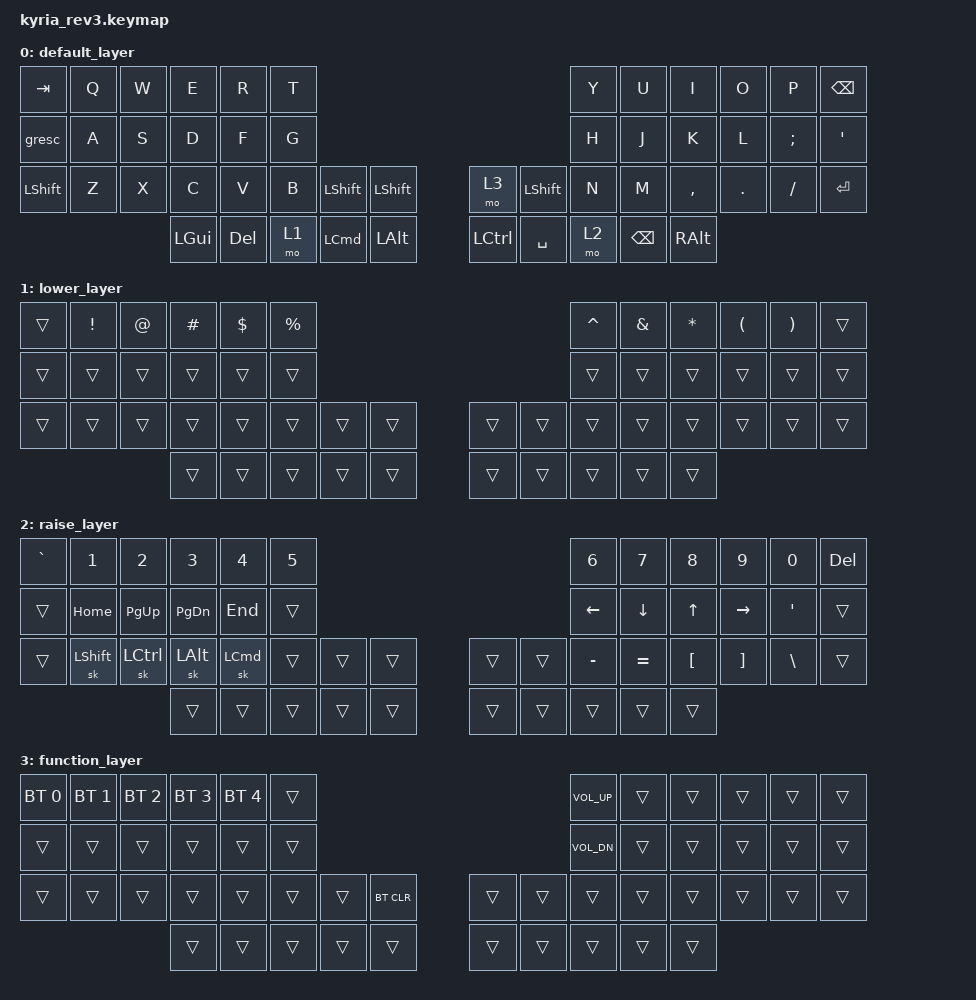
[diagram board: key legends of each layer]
/*
 * Copyright (c) 2023 The ZMK Contributors
 *
 * SPDX-License-Identifier: MIT
 */

#include <behaviors.dtsi>
#include <dt-bindings/zmk/bt.h>
#include <dt-bindings/zmk/keys.h>

/* Uncomment this block if using RGB
&led_strip {
    chain-length = <6>;
    // chain-length = <31>; // Uncomment if using both per-key and underglow LEDs
    // chain-length = <25>; // Uncomment if using only per-key LEDs.
};
 */

// Customise the predefined gresc behaviour so that the modifiers that activate it
// are also passed through, i.e. it will be Cmd-` or Cmd-~ instead of just `.
&gresc {
    keep-mods = <(MOD_LGUI|MOD_LSFT|MOD_RGUI|MOD_RSFT)>;
};

/ {
    keymap {
        compatible = "zmk,keymap";

        default_layer {
            // ---------------------------------------------------------------------------------------------------------------------------------
            // |  TAB  |  Q  |  W  |  E   |  R   |  T   |                                          |  Y   |  U    |  I    |  O   |   P   | BSPC |
            // | GRESC |  A  |  S  |  D   |  F   |  G   |                                          |  H   |  J    |  K    |  L   |   ;   |   '  |
            // | SHIFT |  Z  |  X  |  C   |  V   |  B   |         |         |  | FUNC    |         |  N   |  M    |  ,    |  .   |   /   | RET  |
            //                     | GUI  | DEL  |LOWER |   CMD   | OPTION  |  |  CTRL   |  SPACE  |RAISE | BSPC  | R-ALT |
            bindings = <
            &kp TAB   &kp Q &kp W &kp E &kp R &kp T                                                  &kp Y &kp U  &kp I     &kp O   &kp P    &kp BSPC
            &gresc    &kp A &kp S &kp D &kp F &kp G                                                  &kp H &kp J  &kp K     &kp L   &kp SEMI &kp SQT
            &kp LSHFT &kp Z &kp X &kp C &kp V &kp B &kp LSHFT &kp LSHFT        &mo 3     &kp LSHFT &kp N  &kp M   &kp COMMA &kp DOT &kp FSLH &kp RET
                                  &kp LGUI &kp DEL &mo 1   &kp LCMD &kp LALT   &kp LCTRL &kp SPACE &mo 2  &kp BSPC &kp RALT
            >;

            // Uncomment if using sensors, such as encoders
            // sensor-bindings = <&inc_dec_kp C_VOL_UP C_VOL_DN &inc_dec_kp PG_UP PG_DN>;
        };
        lower_layer {
            // --------------------------------------------------------------------------------------------------------------------
            // |       |  !   |  @   |  #   |  $   |  %   |                             |  ^   |  &   |  *   |  (   |  )   |      |
            // |       |      |      |      |      |      |                             |      |      |      |      |      |      |
            // |       |      |      |      |      |      |      |      |||      |      |      |      |      |      |      |      |
            //                       |      |      |      |      |      |||      |      |      |      |      |      |
            bindings = <
            &trans     &kp EXCL &kp AT &kp HASH &kp DLLR &kp PRCNT                      &kp CARET &kp AMPS &kp ASTRK &kp LPAR &kp RPAR &trans
            &trans     &trans &trans &trans &trans &trans                               &trans &trans &trans &trans &trans &trans
            &trans     &trans &trans &trans &trans &trans &trans &trans    &trans &trans &trans &trans &trans &trans &trans &trans
                                     &trans &trans &trans &trans &trans    &trans &trans &trans &trans &trans
            >;
        };
        raise_layer {
            // --------------------------------------------------------------------------------------------------------------------
            // |  `    |  1   |  2   |  3   |  4   |  5   |                             |  6   |  7   |  8   |  9   |  0   | DEL  |
            // |       | HOME | PGUP | PGDN | END  |      |                             | LEFT | DOWN |  UP  | RIGHT|  '   |      |
            // |       | SHIFT| CTRL | OPT  | CMD  |      |      |      |||      |      |  -   |  =   |  [   |  ]   |  \   |      |
            //                       |      |      |      |      |      |||      |      |      |      |      |
            bindings = <
            &kp GRAVE  &kp N1 &kp N2 &kp N3 &kp N4 &kp N5                               &kp N6 &kp N7 &kp N8 &kp N9 &kp N0 &kp DEL
            &trans     &kp HOME &kp PG_UP &kp PG_DN &kp END &trans                      &kp LEFT &kp DOWN &kp UP &kp RIGHT &kp SQT &trans
            &trans     &sk LSHFT &sk LCTRL &sk LALT &sk LCMD &trans &trans &trans &trans &trans &kp MINUS &kp EQUAL &kp LBKT &kp RBKT &kp BSLH &trans
                                     &trans &trans &trans &trans &trans   &trans &trans &trans &trans &trans
            >;
        };
        function_layer {
            // --------------------------------------------------------------------------------------------------------------------
            // |BTSEL0 |BTSEL1|BTSEL2|BTSEL3|BTSEL4|      |                             | VOLUP|      |      |      |      |      |
            // |       |      |      |      |      |      |                             | VOLDN|      |      |      |      |      |
            // |       |      |      |      |      |      |      |BT_CLR|||      |      |      |      |      |      |      |      |
            //                       |      |      |      |      |      |||      |      |      |      |      |
            bindings = <
            &bt BT_SEL 0 &bt BT_SEL 1 &bt BT_SEL 2 &bt BT_SEL 3 &bt BT_SEL 4 &trans     &kp C_VOL_UP &trans &trans &trans &trans &trans
            &trans     &trans &trans &trans &trans &trans                 &kp C_VOL_DN &trans &trans &trans &trans &trans
            &trans     &trans &trans &trans &trans &trans &trans &bt BT_CLR &trans &trans &trans &trans &trans &trans &trans &trans
                                 &trans &trans &trans &trans &trans       &trans &trans &trans &trans &trans
            >;
        };
    };
};
